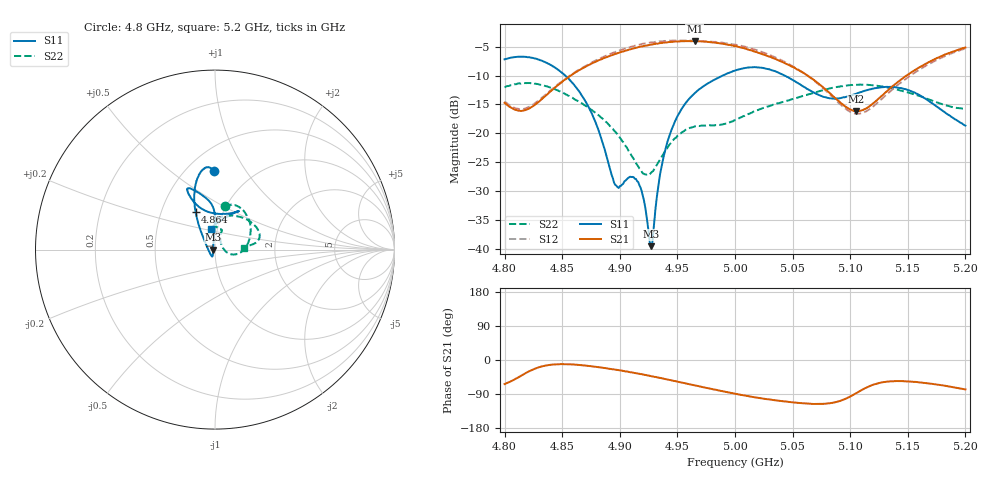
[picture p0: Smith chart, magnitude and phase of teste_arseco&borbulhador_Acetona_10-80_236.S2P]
! Network Analyzer HP8722D
! Hewlett-Packard
! Data name: Linha & Wilkinson
! Saver's name: Rodrigo Anjos
! Comments: Teste da utilização de aquisição
! continua pelo VNA HP8722D
! Time and date: 25/4/2025 17:14
!  Frequency  S11  S21  S12  S22
# HZ  S  MA R 50
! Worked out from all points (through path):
!   401 points, 4.8 GHz to 5.2 GHz, reference 50 ohm
!   highest |S21| = -4.02 dB at 4.965 GHz (marker M1); lowest = -16.1 dB at 5.105 GHz (marker M2)
!   lowest |S11| = -39.5 dB at 4.927 GHz (marker M3), VSWR 1.02, Z = 49 - j0.0255 ohm
!   |S11| at or under -10 dB: 4.853 GHz to 4.989 GHz (136.5 MHz wide, 2.77 % of centre); 5.043 GHz to end of sweep
!   |S22| runs from -27.2 to -11.3 dB; largest |S21 - S12| = 1.2
!   S11 on the Smith chart (normalised r, x): 4.8 GHz: 0.67, +0.72; 4.864 GHz: 0.74, +0.33; 5.2 GHz: 0.93, +0.22
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4.8e9  0.4375 91.0  0.1835 -63.4  0.1886 70.1  0.2497 76.9
4.82e9  0.4558 97.3  0.1614 -31.7  0.1673 99.0  0.2729 61.5
4.843e9  0.3757 106.8  0.2461 -11.8  0.2495 118.9  0.2438 36.5
4.864e9  0.2358 117.3  0.3491 -12.9  0.3524 120.9  0.1898 12.0
4.867e9  0.2132 119.0  0.3631 -13.9  0.3676 120.5  0.1821 8.7
4.88e9  0.1168 129.3  0.4217 -18.5  0.4326 118.2  0.1476 -5.1
4.897e9  0.03524 -166.5  0.4895 -25.8  0.5122 112.8  0.1007 -15.7
4.91e9  0.04188 -112.9  0.5371 -32.5  0.5623 106.8  0.06448 -11.6
4.916e9  0.03785 -110.1  0.5573 -36.0  0.5837 104.0  0.05171 -0.7
4.92e9  0.02861 -114.4  0.5668 -38.2  0.5972 101.6  0.04498 11.6
4.927e9  0.01054 -178.6  0.5858 -42.4  0.6132 97.5  0.04548 38.2
4.929e9  0.01369 137.2  0.5907 -43.6  0.616 96.3  0.04734 45.0
4.934e9  0.03819 102.3  0.6023 -46.9  0.6273 93.2  0.05695 58.0
4.946e9  0.1142 91.2  0.6205 -54.5  0.6355 85.5  0.0863 68.9
4.965e9  0.2226 91.6  0.6295 -67.0  0.6333 73.4  0.1148 70.4
5e9  0.3496 109.3  0.568 -89.1  0.5881 50.6  0.13 87.8
5.03e9  0.3583 115.3  0.4606 -104.2  0.4786 33.6  0.1722 85.0
5.067e9  0.2295 105.7  0.2977 -115.8  0.2945 23.7  0.2219 56.9
5.105e9  0.2203 66.5  0.1559 -87.9  0.1482 55.0  0.263 25.3
5.134e9  0.2524 58.4  0.2421 -56.6  0.2274 88.8  0.2478 12.3
5.169e9  0.1885 71.5  0.4174 -62.1  0.401 84.8  0.1954 6.9
5.2e9  0.1166 101.4  0.5534 -77.6  0.5433 70.0  0.1629 3.5
